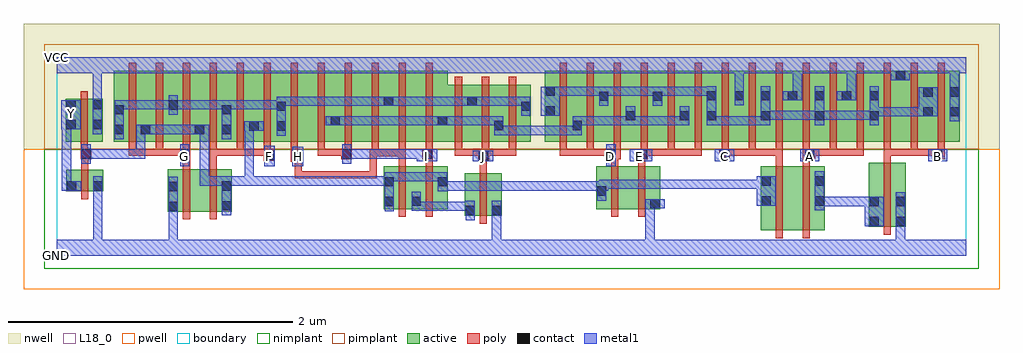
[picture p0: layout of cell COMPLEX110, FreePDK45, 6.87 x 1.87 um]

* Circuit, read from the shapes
.subckt COMPLEX110 A B C D E F G GND H I J VCC Y
M1 GND n1 Y VSUBS nfet w=0.15u l=0.05u
M2 n2 G GND VSUBS nfet w=0.3u l=0.05u
M3 n1 F n2 VSUBS nfet w=0.3u l=0.05u
M4 n3 H n1 VSUBS nfet w=0.3u l=0.05u
M5 n1 I n3 VSUBS nfet w=0.3u l=0.05u
M6 GND J n3 VSUBS nfet w=0.3u l=0.05u
M7 n4 D n1 VSUBS nfet w=0.3u l=0.05u
M8 GND E n4 VSUBS nfet w=0.3u l=0.05u
M9 n5 C n1 VSUBS nfet w=0.45u l=0.05u
M10 n6 A n5 VSUBS nfet w=0.45u l=0.05u
M11 GND B n6 VSUBS nfet w=0.45u l=0.05u
M12 VCC n1 Y n7 pfet w=0.3u l=0.05u
M13 n1 G n8 n7 pfet w=0.5u l=0.05u m=3
M14 n8 F n1 n7 pfet w=0.5u l=0.05u m=3
M15 n9 H n8 n7 pfet w=0.5u l=0.05u
M16 n10 I n9 n7 pfet w=0.5u l=0.05u
M17 n11 I n10 n7 pfet w=0.5u l=0.05u
M18 n8 H n11 n7 pfet w=0.5u l=0.05u
M19 n12 H n8 n7 pfet w=0.5u l=0.05u
M20 n10 I n12 n7 pfet w=0.5u l=0.05u
M21 n8 J n10 n7 pfet w=0.4u l=0.05u m=3
M22 n10 D n13 n7 pfet w=0.5u l=0.05u m=3
M23 n13 E n10 n7 pfet w=0.5u l=0.05u m=3
M24 VCC C n13 n7 pfet w=0.5u l=0.05u m=3
M25 n13 A VCC n7 pfet w=0.5u l=0.05u m=3
M26 VCC B n13 n7 pfet w=0.5u l=0.05u m=3
.ends

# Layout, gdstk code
import gdstk
lib = gdstk.Library(unit=1e-6, precision=1e-09)
def R(c, l, rs):  # rectangles x0, y0, x1, y1
    for r in rs: c.add(gdstk.rectangle(r[:2], r[2:], *l))
def A(c, l, x, y, w, h, nx, ny, dx, dy):  # array of equal rectangles
    R(c, l, [(x+i*dx, y+j*dy, x+i*dx+w, y+j*dy+h) for i in range(nx) for j in range(ny)])
active = (1, 0)
pwell = (2, 0)
nwell = (3, 0)
nimplant = (4, 0)
pimplant = (5, 0)
poly = (9, 0)
contact = (10, 0)
metal1 = (11, 0)
L18_0 = (18, 0)
boundary = (235, 0)

complex110 = lib.new_cell('COMPLEX110')
A(complex110, active, 4, 0.805, 0.265, 0.5, 3, 1, 0.19, 0)
A(complex110, active, 4.19, 0.805, 0.075, 0.395, 4, 1, 0.38, 0)
A(complex110, active, 4.95, 0.805, 0.265, 0.5, 3, 1, 0.19, 0)
A(complex110, active, 5.52, 0.805, 0.075, 0.5, 3, 1, 0.38, 0)
R(complex110, active, [(4.955,0.18,5.18,0.63), (5.18,0.18,5.405,0.63), (5.33,0.2,5.405,0.63), (5.715,0.205,5.79,0.655), (5.715,0.205,5.975,0.655), (5.9,0.205,5.975,0.655), (4.955,0.207,5.03,0.63), (2.872,0.282,2.947,0.582), (2.872,0.282,3.132,0.582), (3.057,0.282,3.132,0.582), (0.782,0.312,1.007,0.612), (0.782,0.312,0.857,0.612), (1.007,0.312,1.232,0.612), (1.157,0.312,1.232,0.612), (2.302,0.33,2.567,0.63), (2.492,0.33,2.567,0.497), (2.492,0.33,2.752,0.63), (3.797,0.33,4.022,0.63), (3.797,0.33,3.872,0.63), (4.022,0.33,4.247,0.63), (4.172,0.33,4.247,0.497), (2.677,0.332,2.752,0.63), (2.302,0.345,2.377,0.63), (0.065,0.455,0.14,0.605), (0.065,0.455,0.325,0.605), (0.25,0.455,0.325,0.605), (0.062,0.805,0.137,1.105), (0.062,0.805,0.322,1.105), (0.247,0.805,0.322,1.105), (0.402,0.805,0.662,1.305), (0.402,0.805,0.477,1.2), (0.587,0.805,0.857,1.305), (0.782,0.805,1.042,1.305), (0.967,0.805,1.232,1.305), (1.157,0.805,1.425,1.305), (1.35,0.805,1.617,1.305), (1.542,0.805,1.767,1.305), (1.767,0.805,1.997,1.305), (1.922,0.805,2.147,1.305), (2.147,0.805,2.372,1.305), (2.297,0.805,2.527,1.305), (2.527,0.805,2.752,1.305), (2.677,0.805,2.752,1.07), (2.677,0.805,2.96,1.205), (2.885,0.805,3.147,1.205), (3.072,0.805,3.147,1.07), (3.072,0.805,3.337,1.205), (3.262,0.805,3.337,1.2), (3.435,0.805,3.51,1.2), (3.435,0.805,3.7,1.305), (3.625,0.805,3.7,1.07), (3.625,0.805,3.887,1.305), (3.812,0.805,3.887,1.2), (3.812,0.805,4.075,1.305), (4,0.805,4.075,1.07), (4.38,0.805,4.455,1.07), (4.57,0.805,4.84,1.305), (4.765,0.805,4.84,1.305), (4.765,0.805,5.025,1.305), (5.52,0.805,5.79,1.305), (5.715,0.805,5.975,1.305), (5.715,0.805,5.79,1.2), (5.9,0.805,6.17,1.305), (6.095,0.805,6.355,1.305), (6.095,0.805,6.17,1.2), (0.587,0.807,0.662,1.07), (0.782,0.807,0.857,1.2), (0.967,0.807,1.042,1.07), (1.157,0.807,1.232,1.2), (1.35,0.807,1.425,1.07), (1.542,0.807,1.617,1.2), (1.922,0.807,1.997,1.07), (2.297,0.807,2.372,1.2), (5.14,0.807,5.215,1.305), (2.885,0.907,2.96,1.2)])
R(complex110, pwell, [(-0.235,-0.235,6.635,0.75)])
R(complex110, nwell, [(-0.235,0.75,6.635,1.635)])
R(complex110, nimplant, [(-0.09,-0.09,6.49,0.75)])
R(complex110, pimplant, [(-0.09,0.75,6.49,1.49)])
A(complex110, poly, 0.507, 0.705, 0.05, 0.095, 6, 1, 0.19, 0)
A(complex110, poly, 2.802, 0.705, 0.05, 0.095, 3, 1, 0.19, 0)
A(complex110, poly, 3.54, 0.705, 0.05, 0.095, 15, 1, 0.19, 0)
A(complex110, poly, 4.11, 0.705, 0.05, 0.05, 3, 1, 0.19, 0)
A(complex110, poly, 4.3, 0.705, 0.24, 0.05, 3, 1, 0.57, 0)
A(complex110, poly, 0.507, 0.75, 0.05, 0.61, 12, 1, 0.19, 0)
A(complex110, poly, 2.802, 0.75, 0.05, 0.51, 3, 1, 0.19, 0)
A(complex110, poly, 3.54, 0.75, 0.05, 0.61, 15, 1, 0.19, 0)
R(complex110, poly, [(5.06,0.125,5.11,0.685), (5.25,0.125,5.3,0.685), (5.82,0.15,5.87,0.71), (2.977,0.227,3.027,0.637), (0.887,0.257,0.937,0.667), (1.077,0.257,1.127,0.667), (2.407,0.275,2.457,0.685), (2.597,0.275,2.647,0.685), (3.902,0.275,3.952,0.685), (4.092,0.275,4.142,0.685), (0.17,0.4,0.22,0.66), (1.675,0.547,1.725,0.597), (1.675,0.547,1.725,0.597), (1.675,0.547,1.725,0.597), (1.675,0.547,1.857,0.597), (1.675,0.547,1.725,0.712), (1.807,0.547,1.857,0.597), (1.807,0.547,1.857,0.597), (1.807,0.547,1.857,0.597), (1.807,0.547,2.02,0.597), (1.97,0.547,2.02,0.597), (1.97,0.547,2.02,0.597), (1.97,0.547,2.02,0.597), (1.97,0.547,2.252,0.597), (2.202,0.547,2.252,0.597), (2.202,0.547,2.252,0.752), (2.977,0.587,3.027,0.72), (0.17,0.61,0.22,0.73), (0.887,0.617,0.937,0.73), (1.077,0.617,1.127,0.755), (2.407,0.635,2.457,0.752), (2.597,0.635,2.647,0.73), (3.902,0.635,3.952,0.73), (4.092,0.635,4.142,0.73), (5.06,0.635,5.11,0.755), (5.25,0.635,5.3,0.73), (5.82,0.66,5.87,0.755), (1.647,0.662,1.725,0.737), (1.675,0.662,1.725,0.712), (1.675,0.662,1.725,0.712), (1.455,0.67,1.53,0.755), (2.965,0.67,3.042,0.755), (0.167,0.68,0.242,0.755), (0.862,0.68,0.937,0.755), (2.002,0.68,2.077,0.755), (2.572,0.68,2.647,0.755), (3.865,0.68,3.97,0.755), (4.085,0.68,4.16,0.755), (4.662,0.68,4.737,0.755), (5.25,0.68,5.337,0.755), (6.162,0.68,6.25,0.755), (1.647,0.687,1.697,0.8), (2.202,0.702,2.252,0.752), (2.202,0.702,2.252,0.752), (2.202,0.702,2.267,0.752), (2.217,0.702,2.267,0.752), (2.217,0.702,2.267,0.752), (2.217,0.702,2.457,0.752), (2.217,0.702,2.267,0.8), (2.407,0.702,2.457,0.752), (2.407,0.702,2.457,0.8), (0.167,0.705,0.217,0.8), (0.507,0.705,0.557,0.755), (0.507,0.705,0.557,0.755), (0.507,0.705,0.557,0.755), (0.507,0.705,0.747,0.755), (0.697,0.705,0.747,0.755), (0.697,0.705,0.747,0.755), (0.697,0.705,0.747,0.755), (0.697,0.705,0.912,0.755), (1.077,0.705,1.127,0.755), (1.077,0.705,1.127,0.755), (1.077,0.705,1.127,0.755), (1.077,0.705,1.317,0.755), (1.267,0.705,1.317,0.755), (1.267,0.705,1.317,0.755), (1.267,0.705,1.317,0.755), (1.267,0.705,1.505,0.755), (1.837,0.705,1.887,0.8), (1.837,0.705,1.887,0.755), (1.837,0.705,1.887,0.755), (1.837,0.705,1.887,0.755), (1.837,0.705,2.052,0.755), (2.027,0.705,2.077,0.8), (2.597,0.705,2.647,0.8), (2.802,0.705,2.852,0.755), (2.802,0.705,2.852,0.755), (2.802,0.705,2.852,0.755), (2.802,0.705,3.015,0.755), (2.992,0.705,3.042,0.755), (2.992,0.705,3.042,0.755), (2.992,0.705,3.232,0.755), (3.182,0.705,3.232,0.755), (3.54,0.705,3.59,0.755), (3.54,0.705,3.78,0.755), (3.73,0.705,3.78,0.755), (3.73,0.705,3.78,0.755), (3.73,0.705,3.78,0.755), (3.73,0.705,3.915,0.755), (3.865,0.705,3.915,0.755), (3.865,0.705,3.915,0.755), (4.11,0.705,4.16,0.755), (4.11,0.705,4.35,0.755), (4.49,0.705,4.54,0.755), (4.49,0.705,4.54,0.755), (4.687,0.705,4.737,0.755), (4.687,0.705,4.737,0.755), (4.687,0.705,4.92,0.755), (4.87,0.705,4.92,0.755), (5.06,0.705,5.11,0.755), (5.06,0.705,5.11,0.755), (5.06,0.705,5.11,0.755), (5.287,0.705,5.337,0.755), (5.287,0.705,5.337,0.755), (5.287,0.705,5.49,0.755), (5.44,0.705,5.49,0.755), (5.63,0.705,5.68,0.755), (5.63,0.705,5.68,0.755), (5.63,0.705,5.68,0.755), (5.82,0.705,5.87,0.755), (5.82,0.705,5.87,0.755), (5.82,0.705,5.87,0.755), (5.82,0.705,6.06,0.755), (6.01,0.705,6.212,0.755), (6.01,0.705,6.06,0.755), (6.01,0.705,6.06,0.755), (6.01,0.705,6.06,0.755), (0.167,0.75,0.217,1.16)])
A(complex110, contact, 4.575, 0.955, 0.065, 0.065, 3, 1, 0.38, 0)
A(complex110, contact, 4.955, 1.095, 0.065, 0.065, 4, 1, 0.19, 0)
R(complex110, contact, [(5.72,0.21,5.785,0.275), (5.905,0.21,5.97,0.275), (2.877,0.287,2.942,0.352), (3.062,0.287,3.127,0.352), (0.787,0.317,0.852,0.382), (1.162,0.32,1.227,0.385), (4.177,0.335,4.242,0.4), (2.307,0.35,2.372,0.415), (5.72,0.35,5.785,0.415), (5.905,0.35,5.97,0.415), (2.497,0.352,2.562,0.417), (4.96,0.355,5.025,0.42), (5.335,0.355,5.4,0.42), (3.802,0.425,3.867,0.49), (0.787,0.457,0.852,0.522), (0.07,0.46,0.135,0.525), (0.255,0.46,0.32,0.525), (1.162,0.46,1.227,0.525), (2.307,0.49,2.372,0.555), (2.682,0.49,2.747,0.555), (4.96,0.495,5.025,0.56), (5.335,0.495,5.4,0.56), (1.655,0.667,1.72,0.732), (1.46,0.675,1.525,0.74), (2.97,0.675,3.035,0.74), (0.172,0.685,0.237,0.75), (0.867,0.685,0.932,0.75), (2.007,0.685,2.072,0.75), (2.577,0.685,2.642,0.75), (3.87,0.685,3.935,0.75), (4.09,0.685,4.155,0.75), (4.667,0.685,4.732,0.75), (5.267,0.685,5.332,0.75), (6.167,0.685,6.232,0.75), (0.407,0.857,0.472,0.922), (0.592,0.857,0.657,0.922), (0.972,0.857,1.037,0.922), (1.162,0.857,1.227,0.922), (1.355,0.882,1.42,0.947), (1.547,0.882,1.612,0.947), (3.077,0.885,3.142,0.95), (3.63,0.885,3.695,0.95), (0.067,0.892,0.132,0.957), (0.252,0.892,0.317,0.957), (1.927,0.92,1.992,0.985), (2.682,0.92,2.747,0.985), (4.005,0.955,4.07,1.02), (4.385,0.955,4.45,1.02), (5.72,0.955,5.785,1.02), (6.1,0.982,6.165,1.047), (6.285,0.982,6.35,1.047), (3.44,0.987,3.505,1.052), (0.407,0.997,0.472,1.062), (1.162,0.997,1.227,1.062), (1.547,1.022,1.612,1.087), (3.267,1.022,3.332,1.087), (0.787,1.03,0.852,1.095), (0.067,1.032,0.132,1.097), (0.252,1.032,0.317,1.097), (2.302,1.057,2.367,1.122), (2.89,1.057,2.955,1.122), (3.817,1.092,3.882,1.157), (4.195,1.092,4.26,1.157), (4.575,1.095,4.64,1.16), (4.77,1.095,4.835,1.16), (5.72,1.095,5.785,1.16), (6.1,1.122,6.165,1.187), (6.285,1.122,6.35,1.187), (3.44,1.127,3.505,1.192), (5.905,1.235,5.97,1.3)])
A(complex110, metal1, 4.575, 0.92, 0.065, 0.275, 3, 1, 0.38, 0)
R(complex110, metal1, [(0,0,6.4,0.115), (0.255,0.05,0.32,0.115), (0.255,0.05,0.32,0.115), (0.255,0.05,0.32,0.49), (0.787,0.05,0.852,0.115), (0.787,0.05,0.852,0.115), (0.787,0.05,0.852,0.115), (0.787,0.05,0.852,0.115), (0.787,0.05,0.852,0.347), (3.062,0.05,3.127,0.317), (4.142,0.05,4.207,0.4), (5.905,0.05,5.97,0.115), (5.905,0.05,5.97,0.115), (5.905,0.05,5.97,0.24), (5.905,0.175,5.97,0.45), (5.685,0.21,5.82,0.415), (2.877,0.252,2.942,0.387), (3.062,0.252,3.127,0.317), (3.062,0.252,3.127,0.317), (3.062,0.252,3.127,0.317), (3.062,0.252,3.127,0.317), (3.062,0.252,3.127,0.387), (0.787,0.282,0.852,0.557), (1.162,0.285,1.227,0.56), (2.307,0.315,2.372,0.59), (2.497,0.317,2.562,0.382), (2.497,0.317,2.562,0.382), (2.497,0.317,2.562,0.452), (2.497,0.317,2.782,0.382), (2.717,0.317,2.782,0.382), (2.717,0.317,2.782,0.382), (2.717,0.317,2.782,0.382), (2.717,0.317,2.942,0.382), (5.335,0.32,5.4,0.595), (4.142,0.335,4.277,0.4), (4.142,0.335,4.207,0.4), (4.142,0.335,4.207,0.4), (4.142,0.335,4.207,0.4), (4.142,0.335,4.207,0.4), (5.335,0.35,5.4,0.415), (5.335,0.35,5.4,0.415), (5.335,0.35,5.612,0.415), (5.547,0.35,5.75,0.415), (5.547,0.35,5.612,0.415), (5.685,0.35,5.75,0.415), (5.685,0.35,5.75,0.415), (4.925,0.355,5.06,0.56), (3.802,0.39,3.867,0.525), (0.255,0.425,0.32,0.49), (0.255,0.425,0.32,0.49), (0.255,0.425,0.32,0.49), (0.255,0.425,0.32,0.49), (0.255,0.425,0.32,0.56), (2.682,0.455,2.747,0.59), (0.035,0.46,0.17,0.525), (0.035,0.46,0.1,0.957), (2.682,0.46,2.747,0.525), (2.682,0.46,2.747,0.525), (2.682,0.46,2.92,0.525), (2.855,0.46,2.92,0.525), (2.855,0.46,2.92,0.525), (2.855,0.46,2.92,0.525), (2.855,0.46,3.127,0.525), (3.062,0.46,3.127,0.525), (3.062,0.46,3.28,0.525), (3.215,0.46,3.28,0.525), (3.215,0.46,3.28,0.525), (3.215,0.46,3.28,0.525), (3.215,0.46,3.54,0.525), (3.475,0.46,3.54,0.525), (3.475,0.46,3.607,0.525), (3.542,0.46,3.677,0.525), (3.542,0.46,3.607,0.525), (3.612,0.46,3.677,0.525), (3.612,0.46,3.745,0.525), (3.68,0.46,3.745,0.525), (3.68,0.46,3.867,0.525), (3.802,0.46,3.882,0.525), (3.817,0.46,3.882,0.537), (3.817,0.472,4.02,0.537), (3.955,0.472,4.02,0.537), (3.955,0.472,4.02,0.537), (3.955,0.472,4.02,0.537), (3.955,0.472,4.207,0.537), (4.142,0.472,4.207,0.537), (4.142,0.472,4.365,0.537), (4.3,0.472,4.365,0.537), (4.3,0.472,4.502,0.537), (4.437,0.472,4.64,0.537), (4.437,0.472,4.502,0.537), (4.437,0.472,4.502,0.537), (4.437,0.472,4.502,0.537), (4.575,0.472,4.64,0.537), (4.575,0.472,4.777,0.537), (4.712,0.472,4.777,0.537), (4.712,0.472,4.777,0.537), (4.712,0.472,4.777,0.537), (4.712,0.472,4.987,0.537), (4.922,0.472,4.987,0.537), (4.922,0.472,4.99,0.537), (1.007,0.495,1.072,0.56), (1.007,0.495,1.072,0.56), (1.007,0.495,1.072,0.56), (1.007,0.495,1.227,0.56), (1.007,0.495,1.072,0.922), (1.162,0.495,1.227,0.56), (1.162,0.495,1.227,0.56), (1.162,0.495,1.227,0.56), (1.162,0.495,1.227,0.56), (1.162,0.495,1.387,0.56), (1.322,0.495,1.387,0.56), (1.322,0.495,1.387,0.56), (1.322,0.495,1.387,0.56), (1.322,0.495,1.387,0.56), (1.322,0.495,1.387,0.56), (1.322,0.495,1.672,0.56), (1.322,0.495,1.387,0.947), (1.607,0.495,1.81,0.56), (1.607,0.495,1.672,0.56), (1.607,0.495,1.672,0.56), (1.607,0.495,1.672,0.56), (1.745,0.495,1.81,0.56), (1.745,0.495,1.81,0.56), (1.745,0.495,1.81,0.56), (1.745,0.495,1.947,0.56), (1.882,0.495,1.947,0.56), (1.882,0.495,1.947,0.56), (1.882,0.495,1.947,0.56), (1.882,0.495,2.165,0.56), (2.1,0.495,2.165,0.56), (2.1,0.495,2.212,0.56), (2.147,0.495,2.212,0.56), (2.147,0.495,2.372,0.56), (2.307,0.525,2.372,0.59), (2.307,0.525,2.372,0.59), (2.307,0.525,2.575,0.59), (2.51,0.525,2.575,0.59), (2.51,0.525,2.575,0.59), (2.51,0.525,2.575,0.59), (2.51,0.525,2.747,0.59), (0.867,0.63,0.932,0.785), (1.46,0.632,1.535,0.775), (1.655,0.632,1.735,0.767), (3.867,0.632,3.935,0.785), (0.172,0.65,0.237,0.785), (2.007,0.65,2.072,0.785), (2.532,0.667,2.677,0.75), (2.927,0.667,3.07,0.74), (4.032,0.667,4.19,0.75), (4.632,0.667,4.767,0.75), (5.232,0.667,5.367,0.75), (6.132,0.667,6.267,0.75), (0.172,0.685,0.237,0.75), (0.172,0.685,0.237,0.75), (0.172,0.685,0.457,0.75), (0.392,0.685,0.457,0.75), (0.392,0.685,0.457,0.75), (0.392,0.685,0.457,0.75), (0.392,0.685,0.622,0.75), (0.557,0.685,0.622,0.75), (0.557,0.685,0.622,0.922), (2.007,0.685,2.165,0.75), (2.1,0.685,2.165,0.75), (2.1,0.685,2.21,0.75), (2.145,0.685,2.21,0.75), (2.145,0.685,2.352,0.75), (2.287,0.685,2.352,0.75), (2.287,0.685,2.352,0.75), (2.287,0.685,2.352,0.75), (2.287,0.685,2.54,0.75), (2.475,0.685,2.54,0.75), (2.475,0.685,2.597,0.75), (0.407,0.822,0.472,1.097), (1.162,0.822,1.227,1.097), (1.547,0.847,1.612,1.122), (3.077,0.85,3.142,0.915), (3.077,0.85,3.142,0.915), (3.077,0.85,3.142,0.985), (3.077,0.85,3.47,0.915), (3.405,0.85,3.54,0.915), (3.405,0.85,3.47,0.915), (3.475,0.85,3.54,0.915), (3.475,0.85,3.607,0.915), (3.542,0.85,3.607,0.915), (3.542,0.85,3.695,0.915), (3.63,0.85,3.695,0.985), (0.252,0.857,0.317,1.132), (0.557,0.857,0.692,0.922), (0.627,0.857,0.83,0.922), (0.627,0.857,0.692,0.922), (0.627,0.857,0.692,0.922), (0.765,0.857,0.83,0.922), (0.765,0.857,0.83,0.922), (0.765,0.857,0.83,0.922), (0.765,0.857,1.002,0.922), (0.937,0.857,1.072,0.922), (1.007,0.857,1.072,0.922), (1.007,0.857,1.072,0.922), (1.32,0.882,1.455,0.947), (0.032,0.892,0.167,1.097), (0.035,0.892,0.1,0.957), (0.035,0.892,0.1,0.957), (1.892,0.92,2.027,0.985), (1.962,0.92,2.165,0.985), (1.962,0.92,2.027,0.985), (1.962,0.92,2.027,0.985), (2.1,0.92,2.165,0.985), (2.1,0.92,2.21,0.985), (2.145,0.92,2.21,0.985), (2.145,0.92,2.35,0.985), (2.285,0.92,2.35,0.985), (2.285,0.92,2.35,0.985), (2.285,0.92,2.35,0.985), (2.285,0.92,2.575,0.985), (2.51,0.92,2.575,0.985), (2.51,0.92,2.575,0.985), (2.51,0.92,2.575,0.985), (2.51,0.92,2.712,0.985), (2.647,0.92,2.782,0.985), (2.717,0.92,2.92,0.985), (2.717,0.92,2.782,0.985), (2.717,0.92,2.782,0.985), (2.855,0.92,2.92,0.985), (2.855,0.92,2.92,0.985), (2.855,0.92,2.92,0.985), (2.855,0.92,3.142,0.985), (3.63,0.92,3.695,0.985), (3.63,0.92,3.695,0.985), (3.63,0.92,3.745,0.985), (3.68,0.92,3.745,0.985), (3.68,0.92,3.882,0.985), (3.817,0.92,3.882,0.985), (3.817,0.92,3.882,0.985), (3.817,0.92,3.882,0.985), (3.817,0.92,4.07,0.985), (4.005,0.92,4.207,0.985), (4.005,0.92,4.07,1.055), (4.142,0.92,4.207,0.985), (4.142,0.92,4.207,0.985), (4.142,0.92,4.207,0.985), (4.142,0.92,4.365,0.985), (4.3,0.92,4.365,0.985), (4.3,0.92,4.45,0.985), (4.385,0.92,4.45,1.055), (4.575,0.92,4.777,0.985), (4.712,0.92,4.777,0.985), (4.712,0.92,4.777,0.985), (4.712,0.92,4.777,0.985), (4.712,0.92,4.987,0.985), (4.922,0.92,4.987,0.985), (4.922,0.92,5.02,0.985), (5.72,0.92,5.785,1.195), (6.285,0.947,6.35,1.222), (4.955,0.957,5.125,1.022), (5.06,0.957,5.125,1.022), (5.06,0.957,5.262,1.022), (5.197,0.957,5.4,1.022), (5.197,0.957,5.262,1.022), (5.197,0.957,5.262,1.022), (5.197,0.957,5.262,1.022), (5.335,0.957,5.537,1.022), (5.472,0.957,5.537,1.022), (5.472,0.957,5.537,1.022), (5.472,0.957,5.537,1.022), (5.472,0.957,5.785,1.022), (5.72,0.957,5.785,1.022), (5.72,0.957,5.785,1.022), (5.72,0.982,5.922,1.047), (5.857,0.982,6.06,1.047), (5.857,0.982,5.922,1.047), (5.857,0.982,5.922,1.047), (5.857,0.982,5.922,1.047), (5.995,0.982,6.13,1.047), (5.995,0.982,6.06,1.047), (6.065,0.982,6.2,1.187), (3.267,0.987,3.332,1.122), (3.405,0.987,3.54,1.192), (0.787,0.995,0.852,1.13), (0.407,1.032,0.472,1.097), (0.407,1.032,0.472,1.097), (0.407,1.032,0.692,1.097), (0.627,1.032,0.692,1.097), (0.627,1.032,0.692,1.097), (0.627,1.032,0.692,1.097), (0.627,1.032,0.852,1.097), (0.787,1.032,0.852,1.097), (0.787,1.032,0.852,1.097), (0.787,1.032,1.07,1.097), (1.005,1.032,1.07,1.097), (1.005,1.032,1.07,1.097), (1.005,1.032,1.07,1.097), (1.005,1.032,1.227,1.097), (1.162,1.032,1.365,1.097), (1.162,1.032,1.227,1.097), (1.162,1.032,1.227,1.097), (1.3,1.032,1.365,1.097), (1.3,1.032,1.365,1.097), (1.3,1.032,1.365,1.097), (1.3,1.032,1.612,1.097), (1.547,1.057,1.612,1.122), (1.547,1.057,1.612,1.122), (1.547,1.057,1.81,1.122), (1.745,1.057,1.81,1.122), (1.745,1.057,1.81,1.122), (1.745,1.057,1.81,1.122), (1.745,1.057,1.947,1.122), (1.882,1.057,1.947,1.122), (1.882,1.057,1.947,1.122), (1.882,1.057,1.947,1.122), (1.882,1.057,2.165,1.122), (2.1,1.057,2.165,1.122), (2.1,1.057,2.212,1.122), (2.147,1.057,2.212,1.122), (2.147,1.057,2.332,1.122), (2.267,1.057,2.402,1.122), (2.337,1.057,2.54,1.122), (2.337,1.057,2.402,1.122), (2.337,1.057,2.402,1.122), (2.475,1.057,2.54,1.122), (2.475,1.057,2.54,1.122), (2.475,1.057,2.54,1.122), (2.475,1.057,2.712,1.122), (2.647,1.057,2.712,1.122), (2.647,1.057,2.712,1.122), (2.647,1.057,2.712,1.122), (2.647,1.057,2.92,1.122), (2.855,1.057,2.99,1.122), (2.925,1.057,2.99,1.122), (2.925,1.057,2.99,1.122), (2.925,1.057,3.142,1.122), (3.077,1.057,3.142,1.122), (3.077,1.057,3.332,1.122), (3.267,1.057,3.332,1.122), (3.267,1.057,3.332,1.122), (3.817,1.057,3.882,1.192), (4.195,1.057,4.26,1.192), (4.77,1.06,4.835,1.195), (0.252,1.067,0.317,1.35), (5.11,1.095,5.245,1.16), (5.18,1.095,5.245,1.35), (5.49,1.095,5.625,1.16), (5.56,1.095,5.625,1.35), (3.475,1.127,3.607,1.192), (3.542,1.127,3.677,1.192), (3.542,1.127,3.607,1.192), (3.612,1.127,3.677,1.192), (3.612,1.127,3.745,1.192), (3.68,1.127,3.745,1.192), (3.68,1.127,3.882,1.192), (3.817,1.127,4.02,1.192), (3.817,1.127,3.882,1.192), (3.817,1.127,3.882,1.192), (3.955,1.127,4.02,1.192), (3.955,1.127,4.02,1.192), (3.955,1.127,4.02,1.192), (3.955,1.127,4.26,1.192), (4.195,1.127,4.345,1.192), (4.28,1.127,4.345,1.192), (4.28,1.127,4.502,1.192), (4.437,1.127,4.64,1.192), (4.437,1.127,4.502,1.192), (4.437,1.127,4.502,1.192), (4.437,1.127,4.502,1.192), (4.77,1.13,4.835,1.35), (6.285,1.157,6.35,1.35), (5.87,1.235,6.005,1.3), (5.94,1.235,6.005,1.35), (0,1.285,6.4,1.4), (0.252,1.285,0.317,1.35), (0.252,1.285,0.317,1.35)])
A(complex110, L18_0, 4.067, 0.667, 0.065, 0.065, 3, 1, 0.6, 0)
R(complex110, L18_0, [(0,0,6.4,0.115), (0.255,0.05,0.32,0.115), (0.255,0.05,0.32,0.115), (0.255,0.05,0.32,0.49), (0.787,0.05,0.852,0.115), (0.787,0.05,0.852,0.115), (0.787,0.05,0.852,0.115), (0.787,0.05,0.852,0.115), (0.787,0.05,0.852,0.347), (3.062,0.05,3.127,0.317), (4.142,0.05,4.207,0.4), (5.905,0.05,5.97,0.115), (5.905,0.05,5.97,0.115), (5.905,0.05,5.97,0.24), (5.905,0.175,5.97,0.45), (3.062,0.252,3.127,0.317), (3.062,0.252,3.127,0.317), (3.062,0.252,3.127,0.317), (3.062,0.252,3.127,0.317), (3.062,0.252,3.127,0.387), (0.787,0.282,0.852,0.557), (4.142,0.335,4.277,0.4), (4.142,0.335,4.207,0.4), (4.142,0.335,4.207,0.4), (4.142,0.335,4.207,0.4), (4.142,0.335,4.207,0.4), (0.255,0.425,0.32,0.49), (0.255,0.425,0.32,0.49), (0.255,0.425,0.32,0.49), (0.255,0.425,0.32,0.49), (0.255,0.425,0.32,0.56), (0.035,0.46,0.17,0.525), (0.035,0.46,0.1,0.957), (0.867,0.63,0.932,0.785), (1.46,0.632,1.535,0.775), (1.655,0.632,1.735,0.767), (3.867,0.632,3.935,0.785), (2.007,0.65,2.072,0.785), (0.867,0.667,0.932,0.732), (1.467,0.667,1.532,0.732), (1.667,0.667,1.732,0.732), (2.532,0.667,2.677,0.75), (2.567,0.667,2.632,0.732), (2.927,0.667,3.07,0.74), (2.967,0.667,3.032,0.732), (3.867,0.667,3.932,0.732), (4.032,0.667,4.19,0.75), (4.632,0.667,4.767,0.75), (5.232,0.667,5.367,0.75), (6.132,0.667,6.267,0.75), (6.167,0.667,6.232,0.732), (2.007,0.685,2.165,0.75), (2.1,0.685,2.165,0.75), (2.1,0.685,2.21,0.75), (2.145,0.685,2.21,0.75), (2.145,0.685,2.352,0.75), (2.287,0.685,2.352,0.75), (2.287,0.685,2.352,0.75), (2.287,0.685,2.352,0.75), (2.287,0.685,2.54,0.75), (2.475,0.685,2.54,0.75), (2.475,0.685,2.597,0.75), (0.252,0.857,0.317,1.132), (0.032,0.892,0.167,1.097), (0.035,0.892,0.1,0.957), (0.035,0.892,0.1,0.957), (6.285,0.947,6.35,1.222), (0.067,0.967,0.132,1.032), (4.77,1.06,4.835,1.195), (0.252,1.067,0.317,1.35), (5.11,1.095,5.245,1.16), (5.18,1.095,5.245,1.35), (5.49,1.095,5.625,1.16), (5.56,1.095,5.625,1.35), (4.77,1.13,4.835,1.35), (6.285,1.157,6.35,1.35), (5.87,1.235,6.005,1.3), (5.94,1.235,6.005,1.35), (0,1.285,6.4,1.4), (0.252,1.285,0.317,1.35), (0.252,1.285,0.317,1.35)])
R(complex110, boundary, [(0,0,6.4,1.4)])
complex110.add(gdstk.Label('A', (5.3,0.7), layer=11, texttype=0))
complex110.add(gdstk.Label('B', (6.2,0.7), layer=11, texttype=0))
complex110.add(gdstk.Label('C', (4.7,0.7), layer=11, texttype=0))
complex110.add(gdstk.Label('D', (3.9,0.7), layer=11, texttype=0))
complex110.add(gdstk.Label('E', (4.1,0.7), layer=11, texttype=0))
complex110.add(gdstk.Label('F', (1.5,0.7), layer=11, texttype=0))
complex110.add(gdstk.Label('G', (0.9,0.7), layer=11, texttype=0))
complex110.add(gdstk.Label('H', (1.7,0.7), layer=11, texttype=0))
complex110.add(gdstk.Label('I', (2.6,0.7), layer=11, texttype=0))
complex110.add(gdstk.Label('J', (3,0.7), layer=11, texttype=0))
complex110.add(gdstk.Label('Y', (0.1,1), layer=11, texttype=0))
complex110.add(gdstk.Label('VCC', (0,1.4), layer=11, texttype=0))
complex110.add(gdstk.Label('GND', (0,0), layer=11, texttype=0))

lib.write_gds('COMPLEX110.gds')
